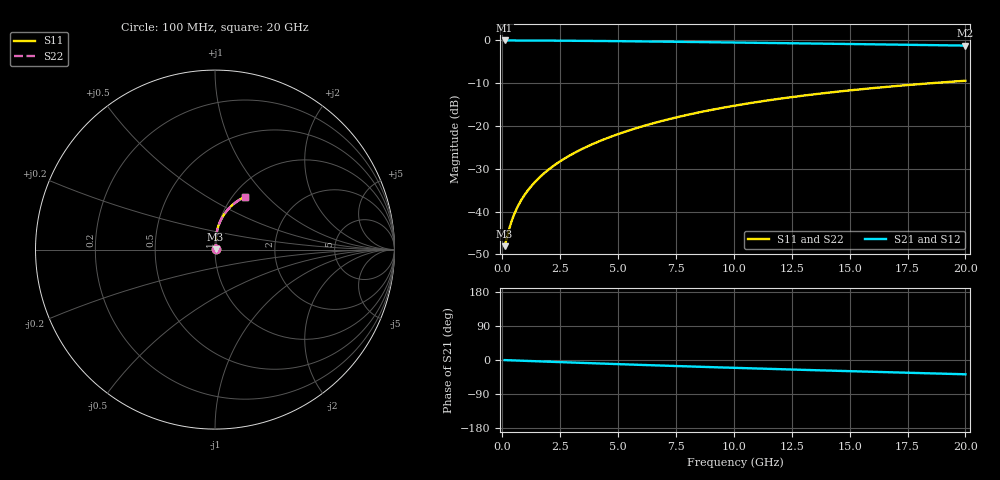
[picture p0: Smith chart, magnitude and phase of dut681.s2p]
! Touchstone file exported from HFSS 2024.1.0
!  File:  C:/UserFiles/LocalFiles/RDL_TSV_Batchsim/temp_RDL_bottom_681_1779786599.aedt
!  Generated:  05:12:40 PM May 26, 2026
!  Design:  RDL_bottom
!  Project:  temp_RDL_bottom_681_1779786599
!  Setup:  Setup1
!  Solution:  Sweep
! Variables:
!  dtsv = 10.80580581um
!  hbump = 3um
!  htsv = 98.58um
!  ldown = 516.02um
!  lrdl = 100um
!  p = 40
!  p1 = 51.42um
!  rhole = 1um
!  t = 450um
!  tdown = 2.28um
!  trdl = 3.915915916um
!  wdown = 25um
!  wrdl = 20um
# GHz S MA R 50.000000
! Terminal data exported
! Port[1] = RDL1_T1
! Port[2] = RDL1_T2
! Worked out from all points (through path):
!   200 points, 100 MHz to 20 GHz, reference 50 ohm
!   highest |S21| = -0.03 dB at 100 MHz (marker M1); lowest = -1.2 dB at 20 GHz (marker M2)
!   group delay of S21, straight-line fit = 5.19 ps
!   lowest |S11| = -48.1 dB at 100 MHz (marker M3), VSWR 1.01, Z = 50.4 + j0.173 ohm
!   |S11| at or under -10 dB: start of sweep to 18.56 GHz
!   |S22| runs from -48.1 to -9.5 dB; largest |S21 - S12| = 3.8e-15
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0.1  0.003938 25.9  0.9964 -0.2  0.9964 -0.2  0.003938 25.9
! Gamma 0 0 0 0
! Port Impedance 50 0 50 0
0.3  0.006296 53.0  0.9961 -0.7  0.9961 -0.7  0.006296 53.0
0.4  0.007683 59.1  0.9959 -0.9  0.9959 -0.9  0.007683 59.1
0.5  0.009089 63.3  0.9957 -1.2  0.9957 -1.2  0.009089 63.3
0.6  0.0105 66.4  0.9955 -1.4  0.9955 -1.4  0.0105 66.4
0.7  0.0119 68.8  0.9953 -1.6  0.9953 -1.6  0.0119 68.8
0.9  0.01473 72.5  0.9949 -2.1  0.9949 -2.1  0.01473 72.5
1.2  0.01904 76.2  0.9942 -2.7  0.9942 -2.7  0.01904 76.2
1.7  0.0264 79.9  0.993 -3.8  0.993 -3.8  0.0264 79.9
2.2  0.03399 82.1  0.9914 -4.9  0.9914 -4.9  0.03399 82.0
2.8  0.04337 83.6  0.9892 -6.2  0.9892 -6.2  0.04337 83.6
3.5  0.0547 84.5  0.9861 -7.8  0.9861 -7.8  0.0547 84.5
4.2  0.06642 84.9  0.9824 -9.2  0.9824 -9.2  0.06641 84.9
5  0.08024 84.8  0.9778 -10.9  0.9778 -10.9  0.08022 84.8
5.9  0.09624 84.2  0.9722 -12.8  0.9722 -12.8  0.09622 84.2
6.8  0.1126 83.3  0.9662 -14.6  0.9662 -14.6  0.1126 83.3
8.4  0.1422 81.1  0.955 -17.7  0.955 -17.7  0.1422 81.1
10.1  0.1737 78.3  0.9426 -20.8  0.9426 -20.8  0.1736 78.3
11.7  0.2029 75.5  0.9307 -23.7  0.9307 -23.7  0.2028 75.4
13.4  0.2329 72.4  0.9179 -26.7  0.9179 -26.7  0.2328 72.3
16.7  0.2877 66.4  0.893 -32.3  0.893 -32.3  0.2876 66.3
20  0.3371 60.6  0.8681 -37.7  0.8681 -37.7  0.3369 60.6
